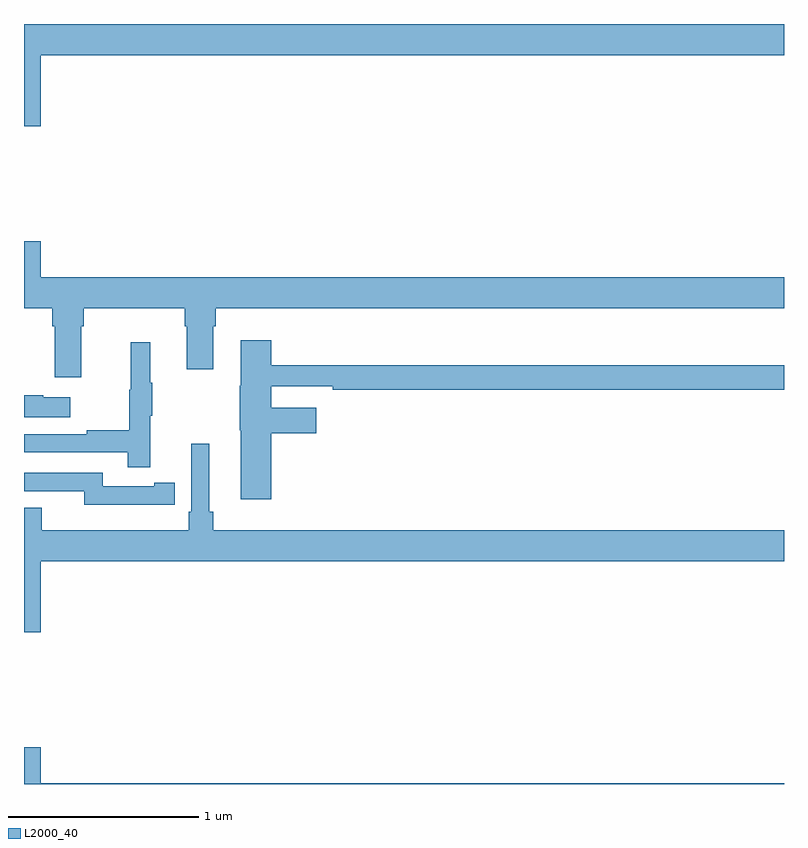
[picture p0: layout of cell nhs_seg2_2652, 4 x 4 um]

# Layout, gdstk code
import gdstk
lib = gdstk.Library(unit=1e-6, precision=1e-09)
def P(c, l, *ps):  # polygons
    for p in ps: c.add(gdstk.Polygon(p, *l))
L2000_40 = (2000, 40)

nhs_seg2_2652 = lib.new_cell('nhs_seg2_2652')
P(nhs_seg2_2652, L2000_40, [(249.088,647.636),(253,647.636),(253,647.8),(249,647.8),(249,647.262),(249.088,647.262)],
  [(249.301,646.208),(249.314,646.208),(249.314,646.304),(249.845,646.304),(249.845,646.208),(249.857,646.208),(249.857,645.984),(249.997,645.984),(249.997,646.208),(250.01,646.208),(250.01,646.304),(253,646.304),(253,646.468),(249.088,646.468),(249.088,646.657),(249,646.657),(249,646.304),(249.149,646.304),(249.149,646.208),(249.161,646.208),(249.161,645.942),(249.301,645.942)],
  [(250.301,645.647),(250.537,645.647),(250.537,645.781),(250.301,645.781),(250.301,645.894),(250.624,645.894),(250.624,645.874),(253,645.874),(253,646.003),(250.301,646.003),(250.301,646.135),(250.142,646.135),(250.142,645.897),(250.135,645.897),(250.135,645.663),(250.142,645.663),(250.142,645.3),(250.301,645.3)],
  [(249.665,645.739),(249.676,645.739),(249.676,645.913),(249.665,645.913),(249.665,646.126),(249.562,646.126),(249.562,645.876),(249.555,645.876),(249.555,645.662),(249.331,645.662),(249.331,645.642),(249,645.642),(249,645.546),(249.547,645.546),(249.547,645.468),(249.665,645.468)],
  [(249.244,645.835),(249.101,645.835),(249.101,645.845),(249,645.845),(249,645.731),(249.244,645.731)],
  [(249.088,644.972),(253,644.972),(253,645.136),(249.995,645.136),(249.995,645.232),(249.976,645.232),(249.976,645.592),(249.879,645.592),(249.879,645.232),(249.866,645.232),(249.866,645.136),(249.094,645.136),(249.094,645.253),(249,645.253),(249,644.598),(249.088,644.598)],
  [(249.686,645.27),(249.794,645.27),(249.794,645.386),(249.686,645.386),(249.686,645.366),(249.414,645.366),(249.414,645.438),(249,645.438),(249,645.342),(249.318,645.342),(249.318,645.269),(249.686,645.269)],
  [(253,643.804),(249.088,643.804),(249.088,643.993),(249,643.993),(249,643.8),(253,643.8)])

lib.write_gds('nhs_seg2_2652.gds')
